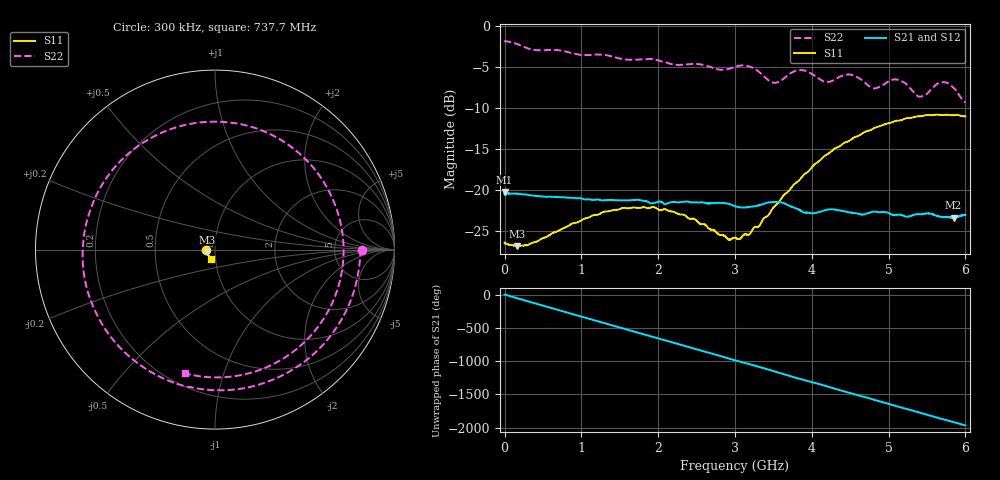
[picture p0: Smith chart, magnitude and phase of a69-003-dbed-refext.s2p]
!  3/18/2021  20:05:20
! Ref Plane: 13.288 mm
# MHZ S MA R  50
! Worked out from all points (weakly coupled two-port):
!   10001 points, 300 kHz to 6 GHz, reference 50 ohm
!   highest |S21| = -20.24 dB at 300 kHz (marker M1); lowest = -23.4 dB at 5.846 GHz (marker M2)
!   lowest |S11| = -26.9 dB at 160.5 MHz (marker M3), VSWR 1.10, Z = 45.8 - j1.18 ohm
!   |S11| at or under -10 dB: start of sweep to end of sweep
!   |S22| runs from -9.3 to -1.7 dB; largest |S21 - S12| = 0.0024
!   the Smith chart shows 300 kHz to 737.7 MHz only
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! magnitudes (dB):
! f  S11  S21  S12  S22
! 300 kHz  -26.4  -20.2  -20.4  -1.7
! 160.5 MHz  -26.9  -20.5  -20.5  -2.2
! 416.7 MHz  -26.3  -20.7  -20.7  -2.9
! 1 GHz  -23.7  -21.0  -21.0  -3.5
! 1.542 GHz  -22.2  -21.3  -21.3  -4.0
! 2.001 GHz  -22.4  -21.4  -21.5  -4.2
! 2.467 GHz  -23.5  -21.5  -21.5  -4.6
! 2.813 GHz  -25.5  -21.6  -21.6  -5.3
! 3 GHz  -25.8  -22.0  -22.0  -5.0
! 3.189 GHz  -25.4  -22.1  -22.1  -4.9
! 3.508 GHz  -22.0  -21.5  -21.5  -6.9
! 3.801 GHz  -19.1  -22.3  -22.3  -5.4
! 4 GHz  -17.2  -22.8  -22.8  -5.8
! 4.196 GHz  -15.7  -22.4  -22.4  -6.8
! 4.518 GHz  -13.8  -22.8  -22.8  -5.9
! 4.811 GHz  -12.4  -22.6  -22.6  -7.6
! 5 GHz  -11.9  -22.8  -22.9  -6.7
! 5.186 GHz  -11.4  -23.1  -23.1  -6.8
! 5.406 GHz  -11.0  -23.0  -22.9  -8.6
! 5.674 GHz  -10.8  -23.3  -23.3  -6.9
! 5.846 GHz  -10.9  -23.4  -23.4  -7.5
! 6 GHz  -11.0  -23.0  -23.0  -9.3
